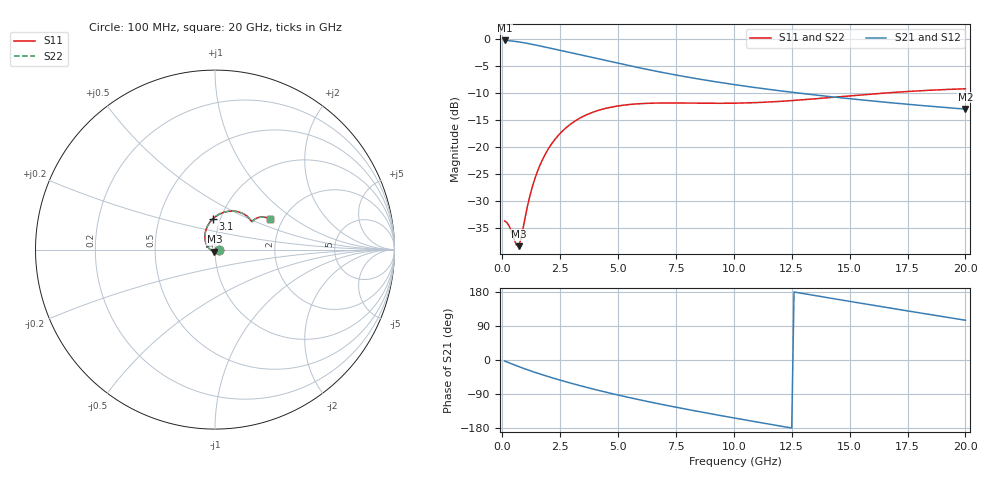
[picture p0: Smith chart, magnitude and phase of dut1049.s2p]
! Touchstone file exported from HFSS 2024.1.0
!  File:  C:/UserFiles/LocalFiles/RDL_TSV_Batchsim/temp_RDL_TSV_1049_1780087771.aedt
!  Generated:  05:06:39 AM May 30, 2026
!  Design:  RDL_TSV
!  Project:  temp_RDL_TSV_1049_1780087771
!  Setup:  Setup1
!  Solution:  Sweep
! Variables:
!  dtsv = 14.76um
!  hbump = 3um
!  htsv = 94.87um
!  ldown = 475.71um
!  lrdl = 482.54um
!  p = 40
!  p1 = 59.58um
!  rhole = 10um
!  subl = 3357.29um
!  t = 450um
!  tdown = 4.19um
!  trdl = 2.08um
!  viad = 10um
!  wdown = 13.12um
!  wrdl = 28.02um
!  xbump = 18um
# GHz S MA R 50.000000
! Terminal data exported
! Port[1] = TM1_1_T1
! Port[2] = TM1_4_T1
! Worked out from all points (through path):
!   200 points, 100 MHz to 20 GHz, reference 50 ohm
!   highest |S21| = -0.19 dB at 100 MHz (marker M1); lowest = -12.9 dB at 20 GHz (marker M2)
!   group delay of S21, straight-line fit = 33 ps
!   lowest |S11| = -38.3 dB at 700 MHz (marker M3), VSWR 1.02, Z = 49.6 - j1.15 ohm
!   |S11| at or under -10 dB: start of sweep to 16.3 GHz
!   |S22| runs from -38.3 to -9.2 dB; largest |S21 - S12| = 1.5e-14
!   S11 on the Smith chart (normalised r, x): 100 MHz: 1.04, -0.01; 3.1 GHz: 0.92, +0.33; 20 GHz: 1.72, +0.66
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0.1  0.02086 -7.5  0.9781 -2.5  0.9781 -2.5  0.02086 -7.5
! Gamma 0 0 0 0
! Port Impedance 50 0 50 0
0.3  0.01867 -27.7  0.9722 -7.6  0.9722 -7.6  0.01868 -27.7
0.6  0.01257 -79.6  0.956 -14.8  0.956 -14.8  0.0126 -79.5
0.7  0.01219 -108.1  0.9492 -17.1  0.9492 -17.1  0.01221 -108.0
0.8  0.01405 -136.4  0.9419 -19.4  0.9419 -19.4  0.01405 -136.2
1.1  0.02941 174.8  0.9175 -26.1  0.9175 -26.1  0.02938 174.9
1.3  0.04335 158.4  0.8999 -30.3  0.8999 -30.3  0.0433 158.5
1.5  0.05851 146.5  0.8818 -34.4  0.8818 -34.4  0.05845 146.6
1.7  0.07422 136.9  0.8635 -38.4  0.8635 -38.4  0.07414 136.9
2  0.09784 124.8  0.8363 -44.1  0.8363 -44.1  0.09774 124.9
2.3  0.1206 114.7  0.8096 -49.6  0.8096 -49.6  0.1205 114.7
3.1  0.1733 93.4  0.7416 -63.5  0.7416 -63.5  0.1731 93.4
3.5  0.1941 84.9  0.7096 -70.0  0.7096 -70.0  0.194 85.0
4.3  0.2252 71.1  0.6494 -82.4  0.6494 -82.4  0.225 71.1
5.1  0.244 60.5  0.5951 -93.9  0.5951 -93.9  0.2439 60.5
5.9  0.2538 52.5  0.5469 -104.7  0.5469 -104.7  0.2537 52.5
6.8  0.2578 46.0  0.5 -116.1  0.5 -116.1  0.2577 46.0
8.3  0.2571 39.7  0.4365 -133.9  0.4365 -133.9  0.257 39.6
10.1  0.2571 37.3  0.3794 -154.0  0.3794 -154.0  0.2569 37.2
13.4  0.2809 37.4  0.3079 171.1  0.3079 171.1  0.2804 37.2
16.7  0.3209 34.5  0.2602 137.6  0.2602 137.6  0.3202 34.4
20  0.3491 29.0  0.2265 104.9  0.2265 104.9  0.3482 28.8
